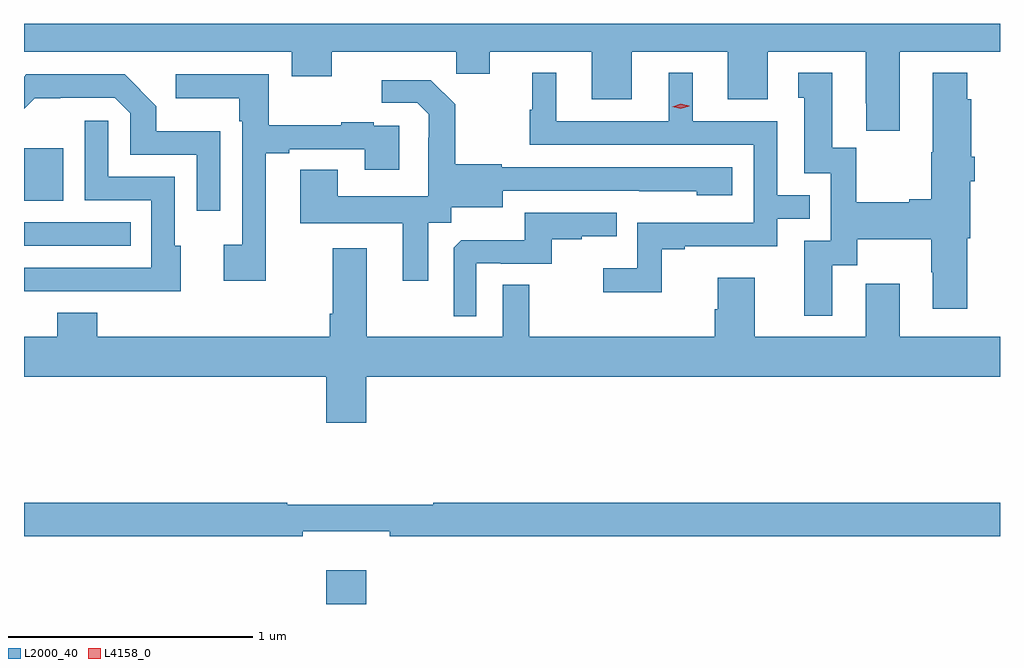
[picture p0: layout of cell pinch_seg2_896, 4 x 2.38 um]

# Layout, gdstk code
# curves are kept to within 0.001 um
import gdstk
lib = gdstk.Library(unit=1e-6, precision=1e-09)
def R(c, l, rs):  # rectangles x0, y0, x1, y1
    for r in rs: c.add(gdstk.rectangle(r[:2], r[2:], *l))
def P(c, l, *ps):  # polygons
    for p in ps: c.add(gdstk.Polygon(p, *l))
L2000_40 = (2000, 40)
L4158_0 = (4158, 0)

pinch_seg2_896 = lib.new_cell('pinch_seg2_896')
R(pinch_seg2_896, L2000_40, [(428.744,664.02,428.908,664.159), (427.506,665.49,427.943,665.586), (427.506,665.675,427.666,665.89)])
P(pinch_seg2_896, L2000_40, [(431.095,666.284),(431.506,666.284),(431.506,666.4),(427.506,666.4),(427.506,666.284),(428.603,666.284),(428.603,666.185),(428.767,666.185),(428.767,666.284),(429.277,666.284),(429.277,666.194),(429.415,666.194),(429.415,666.284),(429.833,666.284),(429.833,666.09),(429.997,666.09),(429.997,666.284),(430.391,666.284),(430.391,666.09),(430.555,666.09),(430.555,666.284),(430.955,666.284),(430.955,666.073),(430.958,666.073),(430.958,665.961),(431.095,665.961)],
  [(430.119,665.475),(430.213,665.475),(430.213,665.487),(430.593,665.487),(430.593,665.601),(430.727,665.601),(430.727,665.697),(430.593,665.697),(430.593,666),(430.246,666),(430.246,666.199),(430.148,666.199),(430.148,666),(429.688,666),(429.688,666.199),(429.59,666.199),(429.59,666.048),(429.579,666.048),(429.579,665.904),(430.497,665.904),(430.497,665.583),(430.02,665.583),(430.02,665.398),(429.879,665.398),(429.879,665.3),(430.119,665.3)],
  [(430.819,665.41),(430.921,665.41),(430.921,665.516),(431.224,665.516),(431.224,665.382),(431.231,665.382),(431.231,665.232),(431.371,665.232),(431.371,665.52),(431.384,665.52),(431.384,665.754),(431.402,665.754),(431.402,665.854),(431.389,665.854),(431.389,666.09),(431.371,666.09),(431.371,666.199),(431.231,666.199),(431.231,665.873),(431.224,665.873),(431.224,665.681),(431.135,665.681),(431.135,665.668),(430.917,665.668),(430.917,665.891),(430.819,665.891),(430.819,666.199),(430.679,666.199),(430.679,666.096),(430.703,666.096),(430.703,665.787),(430.812,665.787),(430.812,665.511),(430.703,665.511),(430.703,665.202),(430.819,665.202)],
  [(428.497,665.868),(428.593,665.868),(428.593,665.886),(428.903,665.886),(428.903,665.802),(429.043,665.802),(429.043,665.982),(428.939,665.982),(428.939,665.995),(428.807,665.995),(428.807,665.984),(428.509,665.984),(428.509,666.192),(428.127,666.192),(428.127,666.095),(428.388,666.095),(428.388,665.999),(428.4,665.999),(428.4,665.494),(428.325,665.494),(428.325,665.346),(428.497,665.346)],
  [(428.31,665.959),(428.049,665.959),(428.049,666.062),(427.918,666.192),(427.515,666.192),(427.506,666.183),(427.506,666.051),(427.55,666.095),(427.878,666.096),(427.941,666.033),(427.941,665.862),(428.214,665.862),(428.214,665.634),(428.31,665.634)],
  [(429.163,665.584),(429.258,665.584),(429.258,665.648),(429.469,665.648),(429.469,665.715),(430.263,665.714),(430.263,665.696),(430.408,665.696),(430.408,665.811),(429.465,665.811),(429.465,665.824),(429.273,665.824),(429.273,666.069),(429.173,666.169),(428.973,666.169),(428.973,666.075),(429.117,666.075),(429.164,666.028),(429.164,665.933),(429.162,665.933),(429.162,665.692),(428.791,665.692),(428.791,665.801),(428.639,665.801),(428.639,665.582),(429.059,665.582),(429.059,665.346),(429.163,665.346)],
  [(428.149,665.49),(428.124,665.49),(428.124,665.772),(427.851,665.772),(427.851,666.001),(427.755,666.001),(427.755,665.676),(428.028,665.676),(428.028,665.4),(427.506,665.4),(427.506,665.304),(427.931,665.304),(427.931,665.303),(428.149,665.303)],
  [(429.36,665.418),(429.46,665.418),(429.46,665.415),(429.668,665.415),(429.668,665.517),(429.791,665.517),(429.791,665.528),(429.935,665.528),(429.935,665.625),(429.558,665.625),(429.558,665.513),(429.299,665.513),(429.267,665.481),(429.267,665.201),(429.36,665.201)],
  [(431.506,665.116),(431.095,665.116),(431.095,665.335),(430.955,665.335),(430.955,665.116),(430.501,665.116),(430.501,665.359),(430.349,665.359),(430.349,665.229),(430.337,665.229),(430.337,665.116),(429.577,665.116),(429.577,665.33),(429.468,665.33),(429.468,665.116),(428.911,665.116),(428.911,665.479),(428.771,665.479),(428.771,665.212),(428.759,665.212),(428.759,665.116),(427.807,665.116),(427.807,665.215),(427.643,665.215),(427.643,665.116),(427.506,665.116),(427.506,664.952),(428.744,664.952),(428.744,664.764),(428.908,664.764),(428.908,664.952),(431.506,664.952)],
  [(428.648,664.319),(429.004,664.319),(429.004,664.3),(431.506,664.3),(431.506,664.436),(429.184,664.436),(429.184,664.429),(428.584,664.429),(428.584,664.436),(427.506,664.436),(427.506,664.3),(428.648,664.3)])
P(pinch_seg2_896, L4158_0, [(430.197,666.051),(430.162,666.06),(430.161,666.06),(430.162,666.06),(430.197,666.071),(430.232,666.063),(430.233,666.062),(430.232,666.062)])

lib.write_gds('pinch_seg2_896.gds')
